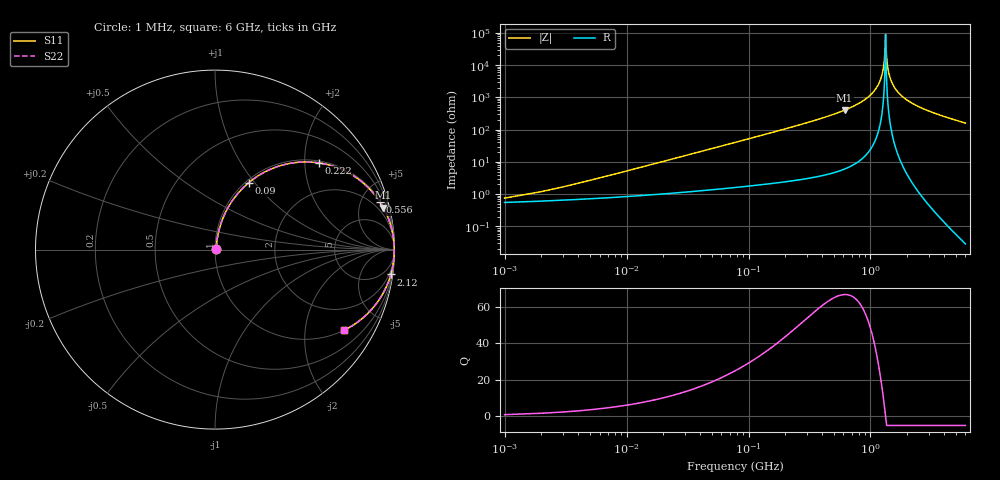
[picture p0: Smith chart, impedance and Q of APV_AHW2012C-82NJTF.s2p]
! APV AHW2012C-82NJTF 82 nH 0805 wire-wound (L2 L3)
! Lumped model fitted to APV datasheet: Q=65@500MHz, SRF=1330MHz, DCR=0.42 ohm
! Model: (L + DCR + k*sqrt(f)) || Cp ; L=8.2e-08 H, Cp=1.75e-13 F, k=0.000133
! Generated by make_s2p.py - an estimate, not a measurement
! Series-thru 2-port: part connected between port 1 and port 2.
# Hz S RI R 50
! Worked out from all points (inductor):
!   1500 points, 1 MHz to 6 GHz, reference 50 ohm
!   read as one part in series: L = 82 nH near 8 MHz
!   highest Q = 66.8 at 613 MHz (marker M1), where L = 104 nH
!   self-resonance near 1.32 GHz
!   S11 on the Smith chart (normalised r, x): 1 MHz: 1.01, +0.01; 90 MHz: 1.03, +0.93; 222 MHz: 1.05, +2.35; 556 MHz: 1.10, +6.94; 2.12 GHz: 1, -14; 6 GHz: 1.00, -3.19
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1000000  0.00553 0.0051  0.9945 -0.0051  0.9945 -0.0051  0.00553 0.0051
5000000  0.00778 0.0254  0.9922 -0.0254  0.9922 -0.0254  0.00778 0.0254
1.9e7  0.0191 0.0951  0.9809 -0.0951  0.9809 -0.0951  0.0191 0.0951
7.8e7  0.1498 0.3374  0.8502 -0.3374  0.8502 -0.3374  0.1498 0.3374
9e7  0.1872 0.3723  0.8128 -0.3723  0.8128 -0.3723  0.1872 0.3723
2.22e8  0.579 0.483  0.421 -0.483  0.421 -0.483  0.579 0.483
3.31e8  0.7638 0.4159  0.2362 -0.4159  0.2362 -0.4159  0.7638 0.4159
5.56e8  0.92 0.2638  0.08 -0.2638  0.08 -0.2638  0.92 0.2638
6.13e8  0.9384 0.2331  0.0616 -0.2331  0.0616 -0.2331  0.9384 0.2331
8.63e8  0.9813 0.1275  0.0187 -0.1275  0.0187 -0.1275  0.9813 0.1275
1.07e9  0.9944 0.0635  0.00563 -0.0635  0.00563 -0.0635  0.9944 0.0635
1.2e9  0.9978 0.03  0.00222 -0.03  0.00222 -0.03  0.9978 0.03
1.24e9  0.9983 0.0204  0.00167 -0.0204  0.00167 -0.0204  0.9983 0.0204
1.28e9  0.9987 0.0111  0.00132 -0.0111  0.00132 -0.0111  0.9987 0.0111
1.32e9  0.9989 0.00219  0.00114 -0.00219  0.00114 -0.00219  0.9989 0.00219
1.37e9  0.9989 -0.00864  0.00115 0.00864  0.00115 0.00864  0.9989 -0.00864
1.41e9  0.9987 -0.017  0.00132 0.017  0.00132 0.017  0.9987 -0.017
1.48e9  0.9981 -0.0312  0.00193 0.0312  0.00193 0.0312  0.9981 -0.0312
1.6e9  0.9962 -0.054  0.00377 0.054  0.00377 0.054  0.9962 -0.054
2.12e9  0.98 -0.1382  0.02 0.1382  0.02 0.1382  0.98 -0.1382
3.27e9  0.9175 -0.2747  0.0825 0.2747  0.0825 0.2747  0.9175 -0.2747
6e9  0.7184 -0.4497  0.2816 0.4497  0.2816 0.4497  0.7184 -0.4497
